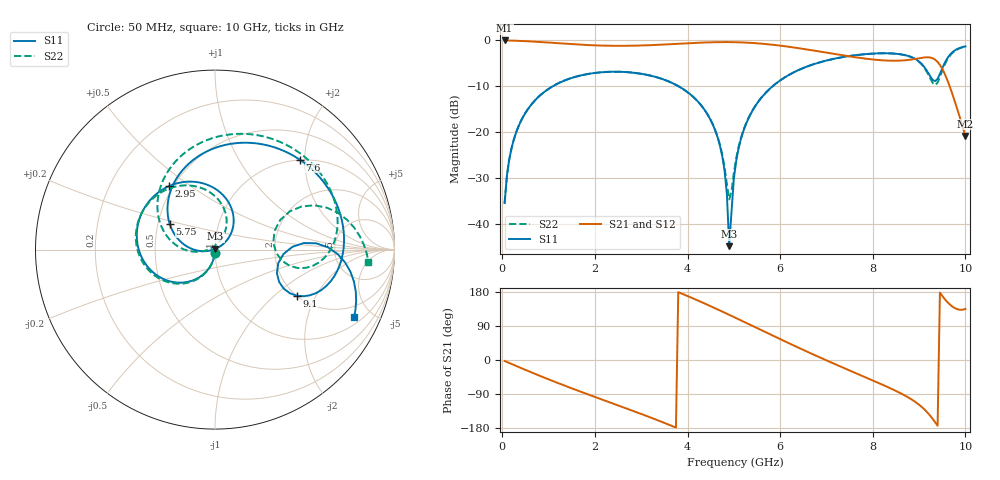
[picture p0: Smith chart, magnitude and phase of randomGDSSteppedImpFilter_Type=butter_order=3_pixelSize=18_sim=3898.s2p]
! freq	dB(S11)	phase(S11)	dB(S12)	phase(S12)
!  dB(S21)	phase(S21)	dB(S22)	phase(S22)
!S-par simulation data
#  GHz  S  DB  R 50
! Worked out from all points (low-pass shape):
!   200 points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, 50 MHz to 10 GHz, reference 50 ohm
!   highest |S21| = 0.00 dB at 50 MHz (marker M1); lowest = -20.8 dB at 10 GHz (marker M2)
!   |S21| within 3 dB of the highest: start of sweep to 7.206 GHz
!   lowest |S11| = -44.8 dB at 4.9 GHz (marker M3), VSWR 1.01, Z = 50.2 + j0.537 ohm
!   |S11| at or under -10 dB: start of sweep to 1.086 GHz; 3.809 GHz to 5.835 GHz (2.027 GHz wide, 42 % of centre)
!   |S22| runs from -35.4 to -1.3 dB; largest |S21 - S12| = 0
!   S11 on the Smith chart (normalised r, x): 50 MHz: 1.00, -0.03; 2.95 GHz: 0.47, +0.41; 5.75 GHz: 0.58, +0.18; 7.6 GHz: 0.99, +1.89; 9.1 GHz: 2.00, -1.42; 10 GHz: 1.33, -3.91
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0.05  -35.43 -92.6  -0.00 -2.7  -0.00 -2.7  -35.43 -92.5
0.2  -23.45 -101.0  -0.03 -10.5  -0.03 -10.5  -23.45 -100.7
0.5  -15.77 -117.1  -0.15 -26.1  -0.15 -26.1  -15.77 -116.2
1.1  -9.92 -147.6  -0.54 -55.9  -0.54 -55.9  -9.92 -145.5
1.75  -7.50 -178.5  -0.96 -86.2  -0.96 -86.2  -7.50 -175.1
2.95  -7.19 126.2  -1.11 -140.0  -1.11 -140.0  -7.19 132.9
3.4  -8.22 104.6  -0.94 -161.1  -0.94 -161.1  -8.22 112.9
4  -11.26 73.9  -0.61 168.9  -0.61 168.9  -11.26 85.1
4.55  -18.43 44.0  -0.39 139.1  -0.39 139.1  -18.38 61.3
4.8  -28.39 32.4  -0.36 125.0  -0.36 125.0  -27.63 65.0
4.85  -33.49 33.0  -0.36 122.1  -0.36 122.1  -31.27 78.3
4.9  -44.81 68.4  -0.36 119.2  -0.36 119.2  -34.64 113.3
5.05  -26.31 -170.0  -0.39 110.5  -0.39 110.5  -25.69 -174.9
5.3  -17.32 177.1  -0.49 95.9  -0.49 95.9  -17.23 -176.1
5.75  -10.78 150.6  -0.84 69.6  -0.84 69.6  -10.77 162.6
6.7  -5.25 95.4  -2.16 15.4  -2.16 15.4  -5.26 112.3
7.6  -3.24 46.8  -3.63 -32.9  -3.63 -32.9  -3.26 66.1
8.35  -2.80 8.3  -4.40 -72.9  -4.40 -72.9  -2.81 28.2
9.1  -5.64 -29.4  -3.73 -128.6  -3.73 -128.6  -5.76 -11.4
9.35  -8.86 -12.2  -4.21 -164.7  -4.21 -164.7  -9.70 6.9
9.55  -4.97 3.6  -7.21 161.4  -7.21 161.4  -5.35 26.5
10  -1.29 -26.0  -20.79 134.8  -20.79 134.8  -1.33 -4.6
